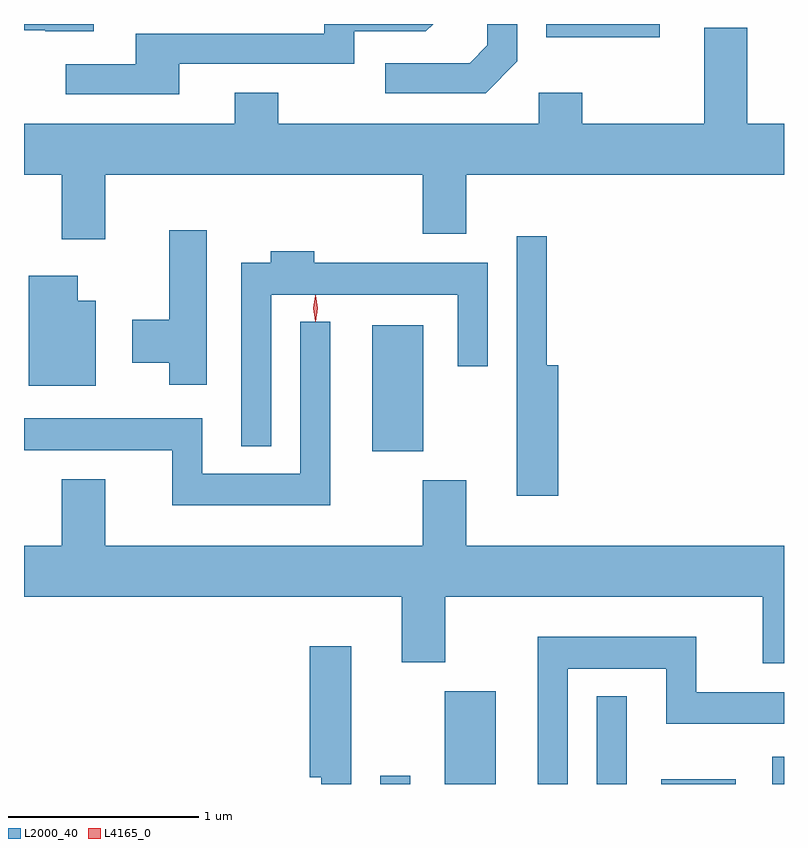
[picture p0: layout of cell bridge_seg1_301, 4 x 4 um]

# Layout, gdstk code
import gdstk
lib = gdstk.Library(unit=1e-6, precision=1e-09)
def R(c, l, rs):  # rectangles x0, y0, x1, y1
    for r in rs: c.add(gdstk.rectangle(r[:2], r[2:], *l))
def P(c, l, *ps):  # polygons
    for p in ps: c.add(gdstk.Polygon(p, *l))
L2000_40 = (2000, 40)
L4165_0 = (4165, 0)

bridge_seg1_301 = lib.new_cell('bridge_seg1_301')
R(bridge_seg1_301, L2000_40, [(887.956,874.17,888.114,874.213), (888.296,874.17,888.564,874.659), (889.096,874.17,889.254,874.633), (889.436,874.17,889.829,874.194), (890.021,874.17,890.082,874.314), (887.916,875.921,888.184,876.584), (888.831,878.101,889.429,878.17)])
P(bridge_seg1_301, L2000_40, [(886.449,878.17),(886.082,878.17),(886.082,878.136),(886.195,878.136),(886.195,878.131),(886.449,878.131)],
  [(888.679,877.974),(888.679,878.17),(888.521,878.17),(888.521,878.057),(888.429,877.964),(887.983,877.964),(887.983,877.806),(888.512,877.806)],
  [(886.899,877.961),(887.819,877.961),(887.819,878.131),(888.197,878.131),(888.236,878.17),(887.661,878.17),(887.661,878.119),(886.671,878.119),(886.671,877.959),(886.303,877.959),(886.303,877.801),(886.899,877.801)],
  [(889.661,878.149),(889.661,877.644),(889.019,877.644),(889.019,877.809),(888.791,877.809),(888.791,877.644),(887.419,877.644),(887.419,877.809),(887.191,877.809),(887.191,877.644),(886.082,877.644),(886.082,877.376),(886.281,877.376),(886.281,877.036),(886.509,877.036),(886.509,877.376),(888.181,877.376),(888.181,877.066),(888.409,877.066),(888.409,877.376),(890.082,877.376),(890.082,877.644),(889.889,877.644),(889.889,878.149)],
  [(887.044,877.084),(886.846,877.084),(886.846,876.614),(886.651,876.614),(886.651,876.386),(886.846,876.386),(886.846,876.271),(887.044,876.271)],
  [(888.894,876.374),(888.834,876.374),(888.834,877.053),(888.676,877.053),(888.676,875.686),(888.894,875.686)],
  [(887.384,876.746),(888.366,876.746),(888.366,876.368),(888.524,876.368),(888.524,876.914),(887.609,876.914),(887.609,876.974),(887.381,876.974),(887.381,876.914),(887.226,876.914),(887.226,875.948),(887.384,875.948)],
  [(886.459,876.714),(886.364,876.714),(886.364,876.844),(886.106,876.844),(886.106,876.266),(886.459,876.266)],
  [(887.694,876.603),(887.536,876.603),(887.536,875.804),(887.019,875.804),(887.019,876.094),(886.082,876.094),(886.082,875.926),(886.861,875.926),(886.861,875.636),(887.694,875.636)],
  [(888.299,875.156),(889.971,875.156),(889.971,874.806),(890.082,874.806),(890.082,875.424),(888.409,875.424),(888.409,875.769),(888.181,875.769),(888.181,875.424),(886.509,875.424),(886.509,875.774),(886.281,875.774),(886.281,875.424),(886.082,875.424),(886.082,875.156),(888.071,875.156),(888.071,874.811),(888.299,874.811)],
  [(888.944,874.776),(889.461,874.776),(889.461,874.486),(890.082,874.486),(890.082,874.654),(889.619,874.654),(889.619,874.944),(888.786,874.944),(888.786,874.17),(888.944,874.17)],
  [(887.804,874.894),(887.586,874.894),(887.586,874.206),(887.646,874.206),(887.646,874.17),(887.804,874.17)])
P(bridge_seg1_301, L4165_0, [(887.616,876.604),(887.607,876.673),(887.616,876.742),(887.617,876.743),(887.618,876.742),(887.627,876.673),(887.618,876.604),(887.617,876.604)],
  [(887.614,876.607),(887.614,876.608),(887.604,876.674),(887.614,876.74),(887.614,876.741),(887.615,876.74),(887.624,876.674),(887.615,876.608)])

lib.write_gds('bridge_seg1_301.gds')
